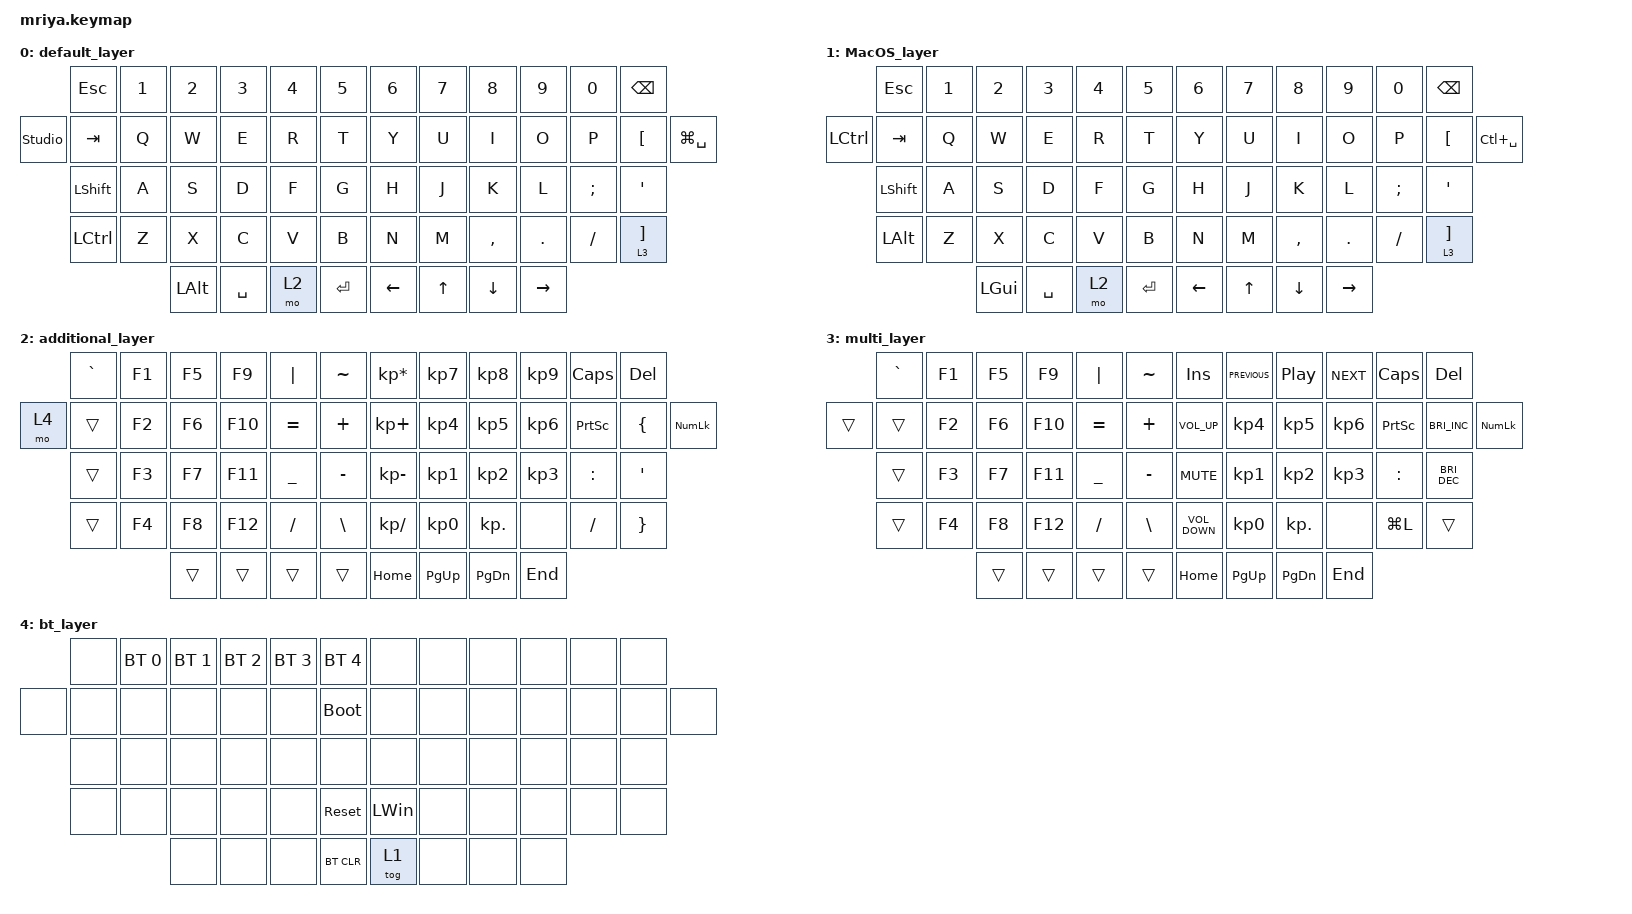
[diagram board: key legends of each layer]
/*
 * Copyright (c) 2023 Andrei Gaevskii
 *
 * SPDX-License-Identifier: MIT
 */

#include <behaviors.dtsi>
#include <dt-bindings/zmk/bt.h>
#include <dt-bindings/zmk/keys.h>

#define DEF 0
#define LWR 1
#define RSE 2
#define ADJ 3

&lt { quick_tap_ms = <200>; };

&mt { quick_tap_ms = <200>; };

/ {
    keymap {
        compatible = "zmk,keymap";

        default_layer {
            bindings = <
          &kp ESC    &kp N1  &kp N2        &kp N3     &kp N4  &kp N5       &kp N6    &kp N7  &kp N8     &kp N9     &kp N0     &kp BSPC
&studio_unlock  &kp TAB    &kp Q   &kp W         &kp E      &kp R   &kp T        &kp Y     &kp U   &kp I      &kp O      &kp P      &kp LBKT             &kp LG(SPACE)
          &kp LSHFT  &kp A   &kp S         &kp D      &kp F   &kp G        &kp H     &kp J   &kp K      &kp L      &kp SEMI   &kp SINGLE_QUOTE
          &kp LCTRL  &kp Z   &kp X         &kp C      &kp V   &kp B        &kp N     &kp M   &kp COMMA  &kp DOT    &kp SLASH  &lt 3 RIGHT_BRACKET
                             &kp LEFT_ALT  &kp SPACE  &mo 2   &kp ENTER    &kp LEFT  &kp UP  &kp DOWN   &kp RIGHT
            >;
        };

        MacOS_layer {
            bindings = <
           &kp ESC       &kp N1  &kp N2        &kp N3     &kp N4  &kp N5       &kp N6    &kp N7  &kp N8     &kp N9     &kp N0     &kp BSPC
&kp LCTRL  &kp TAB       &kp Q   &kp W         &kp E      &kp R   &kp T        &kp Y     &kp U   &kp I      &kp O      &kp P      &kp LBKT             &kp LC(SPACE)
           &kp LSHFT     &kp A   &kp S         &kp D      &kp F   &kp G        &kp H     &kp J   &kp K      &kp L      &kp SEMI   &kp SINGLE_QUOTE
           &kp LEFT_ALT  &kp Z   &kp X         &kp C      &kp V   &kp B        &kp N     &kp M   &kp COMMA  &kp DOT    &kp SLASH  &lt 3 RIGHT_BRACKET
                                 &kp LEFT_GUI  &kp SPACE  &mo 2   &kp ENTER    &kp LEFT  &kp UP  &kp DOWN   &kp RIGHT
            >;
        };

        additional_layer {
            bindings = <
       &kp GRAVE  &kp F1  &kp F5  &kp F9   &kp PIPE        &kp TILDE        &kp KP_MULTIPLY  &kp KP_N7  &kp KP_N8   &kp KP_N9  &kp CAPS         &kp DELETE
&mo 4  &trans     &kp F2  &kp F6  &kp F10  &kp EQUAL       &kp PLUS         &kp KP_PLUS      &kp KP_N4  &kp KP_N5   &kp KP_N6  &kp PRINTSCREEN  &kp LEFT_BRACE   &kp KP_NUM
       &trans     &kp F3  &kp F7  &kp F11  &kp UNDERSCORE  &kp MINUS        &kp KP_MINUS     &kp KP_N1  &kp KP_N2   &kp KP_N3  &kp COLON        &kp SQT
       &trans     &kp F4  &kp F8  &kp F12  &kp FSLH        &kp BACKSLASH    &kp KP_SLASH     &kp KP_N0  &kp KP_DOT  &none      &kp SLASH        &kp RIGHT_BRACE
                          &trans  &trans   &trans          &trans           &kp HOME         &kp PG_UP  &kp PG_DN   &kp END
            >;
        };

        multi_layer {
            bindings = <
        &kp GRAVE  &kp F1  &kp F5  &kp F9   &kp PIPE        &kp TILDE        &kp INSERT         &kp C_PREVIOUS  &kp C_PLAY_PAUSE  &kp C_NEXT  &kp CAPS         &kp DELETE
&trans  &trans     &kp F2  &kp F6  &kp F10  &kp EQUAL       &kp PLUS         &kp C_VOLUME_UP    &kp KP_N4       &kp KP_N5         &kp KP_N6   &kp PRINTSCREEN  &kp C_BRIGHTNESS_INC  &kp KP_NUM
        &trans     &kp F3  &kp F7  &kp F11  &kp UNDERSCORE  &kp MINUS        &kp C_MUTE         &kp KP_N1       &kp KP_N2         &kp KP_N3   &kp COLON        &kp C_BRIGHTNESS_DEC
        &trans     &kp F4  &kp F8  &kp F12  &kp FSLH        &kp BACKSLASH    &kp C_VOLUME_DOWN  &kp KP_N0       &kp KP_DOT        &none       &kp LG(L)        &trans
                           &trans  &trans   &trans          &trans           &kp HOME           &kp PG_UP       &kp PG_DN         &kp END
            >;
        };

        bt_layer {
            bindings = <
       &none  &bt BT_SEL 0  &bt BT_SEL 1  &bt BT_SEL 2  &bt BT_SEL 3  &bt BT_SEL 4    &none     &none  &none  &none  &none  &none
&none  &none  &none         &none         &none         &none         &bootloader     &none     &none  &none  &none  &none  &none  &none
       &none  &none         &none         &none         &none         &none           &none     &none  &none  &none  &none  &none
       &none  &none         &none         &none         &none         &sys_reset      &kp LWIN  &none  &none  &none  &none  &none
                            &none         &none         &none         &bt BT_CLR      &tog 1    &none  &none  &none
            >;
        };
    };
};
